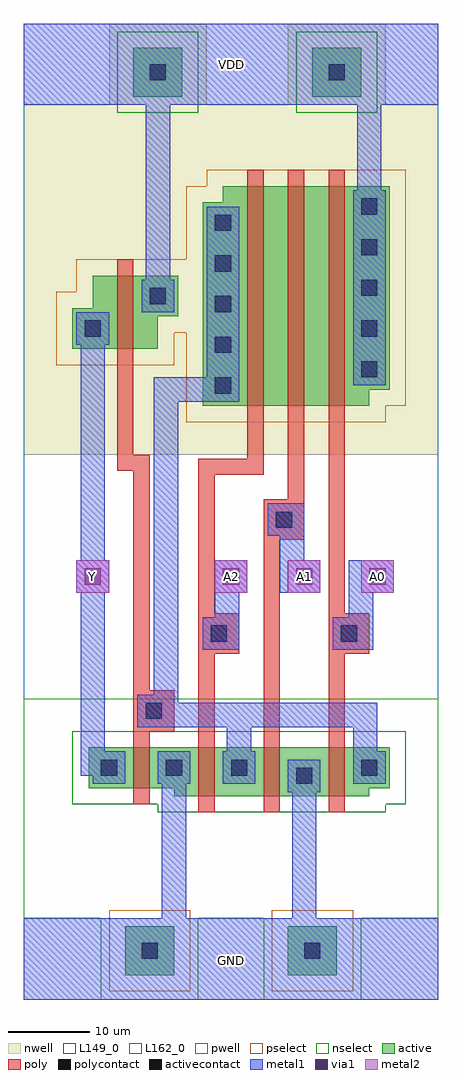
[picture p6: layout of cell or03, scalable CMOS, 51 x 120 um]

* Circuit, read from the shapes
.subckt or03 A0 A1 A2 GND VDD Y
M1 GND n1 Y GND nfet w=5u l=2u
M2 n1 A2 GND GND nfet w=6u l=2u
M3 GND A1 n1 GND nfet w=6u l=2u
M4 n1 A0 GND GND nfet w=6u l=2u
M5 VDD n1 Y VDD pfet w=9u l=2u
M6 n2 A2 n1 VDD pfet w=27u l=2u
M7 n3 A1 n2 VDD pfet w=27u l=2u
M8 VDD A0 n3 VDD pfet w=27u l=2u
.ends

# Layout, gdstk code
import gdstk
lib = gdstk.Library(unit=1e-6, precision=1e-09)
def R(c, l, rs):  # rectangles x0, y0, x1, y1
    for r in rs: c.add(gdstk.rectangle(r[:2], r[2:], *l))
def A(c, l, x, y, w, h, nx, ny, dx, dy):  # array of equal rectangles
    R(c, l, [(x+i*dx, y+j*dy, x+i*dx+w, y+j*dy+h) for i in range(nx) for j in range(ny)])
def P(c, l, *ps):  # polygons
    for p in ps: c.add(gdstk.Polygon(p, *l))
pwell = (41, 0)
nwell = (42, 0)
active = (43, 0)
pselect = (44, 0)
nselect = (45, 0)
poly = (46, 0)
polycontact = (47, 0)
activecontact = (48, 0)
metal1 = (49, 0)
via1 = (50, 0)
metal2 = (51, 0)
L149_0 = (149, 0)
L162_0 = (162, 0)

pwell_contact = lib.new_cell('pwell_contact')
R(pwell_contact, pwell, [(-6,-6,6,5)])
R(pwell_contact, active, [(-3,-3,3,3)])
R(pwell_contact, pselect, [(-5,-5,5,5)])
R(pwell_contact, activecontact, [(-1,-1,1,1)])

nwell_contact = lib.new_cell('nwell_contact')
R(nwell_contact, nwell, [(-6,-5,6,6)])
R(nwell_contact, active, [(-3,-3,3,3)])
R(nwell_contact, nselect, [(-5,-5,5,5)])
R(nwell_contact, activecontact, [(-1,-1,1,1)])

via = lib.new_cell('via')
R(via, metal1, [(-2,-2,2,2)])
R(via, via1, [(-1,-1,1,1)])
R(via, metal2, [(-2,-2,2,2)])

or03 = lib.new_cell('or03')
R(or03, pwell, [(0,10,51,20), (0,10,51,37)])
P(or03, pwell, [(48.5,19),(48.5,20),(51,20),(51,37),(2,37),(2,20),(12.5,20),(12.5,19)])
R(or03, nwell, [(0,67,51,110), (0,95,51,110)])
P(or03, nwell, [(0,74),(0,91),(2.5,91),(2.5,95),(25,95),(25,78),(22.5,78),(22.5,74)],
  [(16,67),(16,104),(18.5,104),(18.5,106),(51,106),(51,69),(48.5,69),(48.5,67)])
R(or03, active, [(8,26,13.5,31)])
P(or03, active, [(6,80),(6,85),(8.5,85),(8.5,89),(11.5,89),(11.5,80)],
  [(6,80),(6,85),(8.5,85),(8.5,89),(19,89),(19,84),(16.5,84),(16.5,80)],
  [(13.5,80),(13.5,89),(19,89),(19,84),(16.5,84),(16.5,80)],
  [(22,73),(22,98),(24.5,98),(24.5,100),(45,100),(45,75),(42.5,75),(42.5,73)],
  [(22,73),(22,98),(24.5,98),(24.5,100),(27.5,100),(27.5,73)],
  [(39.5,73),(39.5,100),(45,100),(45,75),(42.5,75),(42.5,73)],
  [(42.5,25),(42.5,26),(45,26),(45,31),(8,31),(8,26),(18.5,26),(18.5,25)],
  [(42.5,25),(42.5,26),(45,26),(45,31),(39.5,31),(39.5,25)])
P(or03, pselect, [(4,78),(4,87),(6.5,87),(6.5,91),(21,91),(21,82),(18.5,82),(18.5,78)],
  [(20,71),(20,100),(22.5,100),(22.5,102),(47,102),(47,73),(44.5,73),(44.5,71)])
P(or03, nselect, [(44.5,23),(44.5,24),(47,24),(47,33),(6,33),(6,24),(16.5,24),(16.5,23)])
A(or03, poly, 21.5, 23, 2, 2, 3, 1, 8, 0)
A(or03, poly, 21.5, 25, 2, 6, 3, 1, 8, 0)
A(or03, poly, 13.5, 31, 2, 2, 4, 1, 8, 0)
A(or03, poly, 27.5, 71, 2, 2, 3, 2, 5, 29)
A(or03, poly, 27.5, 73, 2, 27, 3, 1, 5, 0)
R(or03, poly, [(13.5,24,15.5,26), (13.5,26,15.5,31), (13.5,33,18.5,38), (21.5,42.5,26.5,47.5), (37.5,42.5,42.5,47.5), (29.5,56.5,34.5,61.5), (11.5,78,13.5,80), (11.5,80,13.5,89), (11.5,89,13.5,91)])
R(or03, polycontact, [(15,34.5,17,36.5), (23,44,25,46), (39,44,41,46), (31,58,33,60)])
A(or03, activecontact, 9.5, 27.5, 2, 2, 3, 1, 8, 0)
A(or03, activecontact, 23.5, 74.5, 2, 2, 1, 5, 0, 5)
A(or03, activecontact, 41.5, 76.5, 2, 2, 1, 5, 0, 5)
R(or03, activecontact, [(33.5,26.5,35.5,28.5), (41.5,27.5,43.5,29.5), (7.5,81.5,9.5,83.5), (15.5,85.5,17.5,87.5)])
A(or03, metal1, 8.5, 26.5, 4, 4, 3, 1, 8, 0)
R(or03, metal1, [(0,0,51,10), (0,0,51,9.5), (32.5,25.5,36.5,29.5), (40.5,26.5,44.5,30.5), (14,33.5,18,37.5), (22,43,26,47), (38,43,42,47), (30,57,34,61), (22.5,73.5,26.5,97.5), (40.5,75.5,44.5,99.5), (6.5,80.5,10.5,84.5), (14.5,84.5,18.5,88.5), (0,110,51,120), (0,110,51,120)])
A(or03, metal2, 23.5, 50, 4, 4, 3, 1, 9, 0)
R(or03, metal2, [(6.5,50,10.5,54)])
R(or03, L149_0, [(0,0,51,10), (0,0,51,9.5), (0,0,51,120), (14,33.5,18,37.5), (22,43,26,47), (38,43,42,47), (30,57,34,61), (0,110,51,120), (0,110,51,120)])
A(or03, L162_0, 23.5, 50, 4, 4, 3, 1, 9, 0)
R(or03, L162_0, [(6.5,50,10.5,54)])
or03.add(gdstk.FlexPath([(33,50),(33,61)], 3, ends="flush", simple_path=True, layer=149, datatype=0))  # L149_0
or03.add(gdstk.FlexPath([(42.5,99.5),(42.5,110)], 3, ends="flush", simple_path=True, layer=149, datatype=0))  # L149_0
or03.add(gdstk.FlexPath([(34.5,25.5),(34.5,9.5)], 3, ends="flush", simple_path=True, layer=149, datatype=0))  # L149_0
or03.add(gdstk.FlexPath([(41.5,43),(41.5,54)], 3, ends="flush", simple_path=True, layer=149, datatype=0))  # L149_0
or03.add(gdstk.FlexPath([(25,43),(25,54)], 3, ends="flush", simple_path=True, layer=149, datatype=0))  # L149_0
or03.add(gdstk.FlexPath([(42,30.5),(42,35),(17.5,35),(17.5,75),(22.5,75)], 3, ends="flush", simple_path=True, layer=149, datatype=0))  # L149_0
or03.add(gdstk.FlexPath([(26.5,33.5),(26.5,30.5)], 3, ends="flush", simple_path=True, layer=149, datatype=0))  # L149_0
or03.add(gdstk.FlexPath([(16.5,88.5),(16.5,110)], 3, ends="flush", simple_path=True, layer=149, datatype=0))  # L149_0
or03.add(gdstk.FlexPath([(8.5,80.5),(8.5,29),(12.5,29)], 3, ends="flush", simple_path=True, layer=149, datatype=0))  # L149_0
or03.add(gdstk.FlexPath([(18.5,26.5),(18.5,9.5)], 3, ends="flush", simple_path=True, layer=149, datatype=0))  # L149_0
or03.add(gdstk.FlexPath([(33.5,71),(33.5,60.5),(30.5,60.5),(30.5,33)], 2, ends="flush", simple_path=True, layer=46, datatype=0))  # poly
or03.add(gdstk.FlexPath([(38.5,71),(38.5,33)], 2, ends="flush", simple_path=True, layer=46, datatype=0))  # poly
or03.add(gdstk.FlexPath([(28.5,71),(28.5,65.5),(22.5,65.5),(22.5,33)], 2, ends="flush", simple_path=True, layer=46, datatype=0))  # poly
or03.add(gdstk.FlexPath([(14.5,38),(14.5,66),(12.5,66),(12.5,78)], 2, ends="flush", simple_path=True, layer=46, datatype=0))  # poly
or03.add(gdstk.FlexPath([(33,50),(33,61)], 3, ends="flush", simple_path=True, layer=49, datatype=0))  # metal1
or03.add(gdstk.FlexPath([(42.5,99.5),(42.5,110)], 3, ends="flush", simple_path=True, layer=49, datatype=0))  # metal1
or03.add(gdstk.FlexPath([(8.5,80.5),(8.5,29),(12.5,29)], 3, ends="flush", simple_path=True, layer=49, datatype=0))  # metal1
or03.add(gdstk.FlexPath([(34.5,25.5),(34.5,9.5)], 3, ends="flush", simple_path=True, layer=49, datatype=0))  # metal1
or03.add(gdstk.FlexPath([(41.5,43),(41.5,54)], 3, ends="flush", simple_path=True, layer=49, datatype=0))  # metal1
or03.add(gdstk.FlexPath([(25,43),(25,54)], 3, ends="flush", simple_path=True, layer=49, datatype=0))  # metal1
or03.add(gdstk.FlexPath([(42,30.5),(42,35),(17.5,35),(17.5,75),(22.5,75)], 3, ends="flush", simple_path=True, layer=49, datatype=0))  # metal1
or03.add(gdstk.FlexPath([(26.5,33.5),(26.5,30.5)], 3, ends="flush", simple_path=True, layer=49, datatype=0))  # metal1
or03.add(gdstk.FlexPath([(16.5,88.5),(16.5,110)], 3, ends="flush", simple_path=True, layer=49, datatype=0))  # metal1
or03.add(gdstk.FlexPath([(18.5,26.5),(18.5,9.5)], 3, ends="flush", simple_path=True, layer=49, datatype=0))  # metal1
or03.add(gdstk.Reference(pwell_contact, (35.5,6)))
or03.add(gdstk.Reference(pwell_contact, (15.5,6)))
or03.add(gdstk.Reference(nwell_contact, (16.5,114)))
or03.add(gdstk.Reference(nwell_contact, (38.5,114)))
or03.add(gdstk.Reference(via, (8.5,52)))
or03.add(gdstk.Reference(via, (34.5,52)))
or03.add(gdstk.Reference(via, (25.5,52)))
or03.add(gdstk.Reference(via, (43.5,52)))
or03.add(gdstk.Label('GND', (25.5,4.75), layer=2, texttype=0))
or03.add(gdstk.Label('VDD', (25.5,115), layer=2, texttype=0))
or03.add(gdstk.Label('Y', (8.5,52), layer=3, texttype=0))
or03.add(gdstk.Label('A1', (34.5,52), layer=3, texttype=0))
or03.add(gdstk.Label('A0', (43.5,52), layer=3, texttype=0))
or03.add(gdstk.Label('A2', (25.5,52), layer=3, texttype=0))

lib.write_gds('or03.gds')
